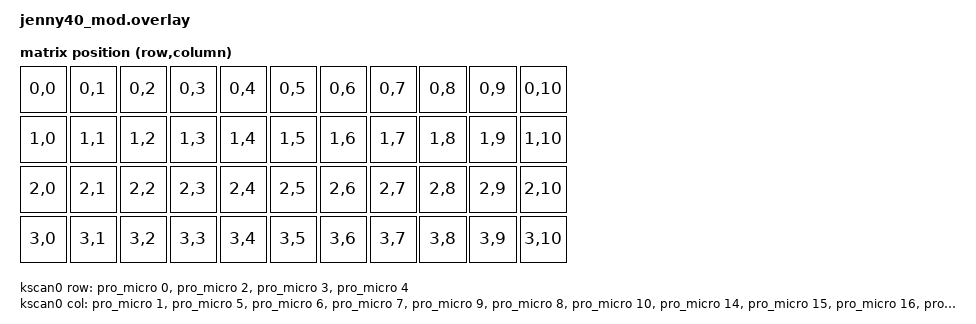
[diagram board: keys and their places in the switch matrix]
// Jenny40 Mod - full 4x11 matrix
#include <dt-bindings/zmk/matrix_transform.h>

/ {
    chosen {
        zmk,kscan = &kscan0;
        zmk,matrix_transform = &default_transform;
    };

    kscan0: kscan {
        compatible = "zmk,kscan-gpio-matrix";
        diode-direction = "col2row";
        wakeup-source;

        /*
         * Columns:
         * COL1  -> D1
         * COL2  -> D5
         * COL3  -> D6
         * COL4  -> D7
         * COL5  -> D9
         * COL6  -> D8
         * COL7  -> D10
         * COL8  -> D14
         * COL9  -> D15
         * COL10 -> D16
         * COL11 -> D18
         */
        col-gpios
            = <&pro_micro 1 GPIO_ACTIVE_HIGH>
            , <&pro_micro 5 GPIO_ACTIVE_HIGH>
            , <&pro_micro 6 GPIO_ACTIVE_HIGH>
            , <&pro_micro 7 GPIO_ACTIVE_HIGH>
            , <&pro_micro 9 GPIO_ACTIVE_HIGH>
            , <&pro_micro 8 GPIO_ACTIVE_HIGH>
            , <&pro_micro 10 GPIO_ACTIVE_HIGH>
            , <&pro_micro 14 GPIO_ACTIVE_HIGH>
            , <&pro_micro 15 GPIO_ACTIVE_HIGH>
            , <&pro_micro 16 GPIO_ACTIVE_HIGH>
            , <&pro_micro 18 GPIO_ACTIVE_HIGH>
            ;

        /*
         * Rows:
         * ROW1 -> D0
         * ROW2 -> D2
         * ROW3 -> D3
         * ROW4 -> D4
         */
        row-gpios
            = <&pro_micro 0 (GPIO_ACTIVE_HIGH | GPIO_PULL_DOWN)>
            , <&pro_micro 2 (GPIO_ACTIVE_HIGH | GPIO_PULL_DOWN)>
            , <&pro_micro 3 (GPIO_ACTIVE_HIGH | GPIO_PULL_DOWN)>
            , <&pro_micro 4 (GPIO_ACTIVE_HIGH | GPIO_PULL_DOWN)>
            ;
    };

    default_transform: matrix_transform {
        compatible = "zmk,matrix-transform";
        columns = <11>;
        rows = <4>;

        map = <
            RC(0,0)  RC(0,1)  RC(0,2)  RC(0,3)  RC(0,4)  RC(0,5)  RC(0,6)  RC(0,7)  RC(0,8)  RC(0,9)  RC(0,10)
            RC(1,0)  RC(1,1)  RC(1,2)  RC(1,3)  RC(1,4)  RC(1,5)  RC(1,6)  RC(1,7)  RC(1,8)  RC(1,9)  RC(1,10)
            RC(2,0)  RC(2,1)  RC(2,2)  RC(2,3)  RC(2,4)  RC(2,5)  RC(2,6)  RC(2,7)  RC(2,8)  RC(2,9)  RC(2,10)
            RC(3,0)  RC(3,1)  RC(3,2)  RC(3,3)  RC(3,4)  RC(3,5)  RC(3,6)  RC(3,7)  RC(3,8)  RC(3,9)  RC(3,10)
        >;
    };
};

/* ===== TrackPoint PS/2 test config =====
 * Wiring:
 * TrackPoint SCK / CLOCK -> D19
 * TrackPoint SDA / DATA  -> D20
 *
 * RST is NOT connected to MCU.
 * RST is pulled up to VCC through 100k on your small board,
 * matching the rflog-style reset circuit.
 */

#include <dt-bindings/pinctrl/nrf-pinctrl.h>

#define MOUSE_PS2_DRIVER_UART

/* SCL = CLOCK = your SCK line */
#define MOUSE_PS2_PIN_SCL_PRO_MICRO <&pro_micro 19 GPIO_ACTIVE_HIGH>

/* SDA = DATA line */
#define MOUSE_PS2_PIN_SDA_PRO_MICRO <&pro_micro 20 GPIO_ACTIVE_HIGH>

/* D20 = P0.29 on common Pro Micro nRF52840 / nice!nano-style pinout */
#define MOUSE_PS2_PIN_SDA_PINCTRL <NRF_PSEL(UART_RX, 0, 29)>

/* Default recommended baud for many TrackPoints */
#define MOUSE_PS2_UART_BAUD_RATE <14400>

/* Unexposed UART pins used internally by the driver on nice!nano */
#define MOUSE_PS2_PIN_UNEXPOSED_TX <NRF_PSEL(UART_TX, 0, 27)>
#define MOUSE_PS2_PIN_UNEXPOSED_RX <NRF_PSEL(UART_RX, 0, 28)>

#define MOUSE_PS2_DT_PRESENT

&pinctrl {
    uart0_ps2_default: uart0_ps2_default {
        group1 {
            psels = MOUSE_PS2_PIN_UNEXPOSED_TX,
                    MOUSE_PS2_PIN_SDA_PINCTRL;
        };
    };

    uart0_ps2_sleep: uart0_ps2_sleep {
        group1 {
            psels = MOUSE_PS2_PIN_UNEXPOSED_TX,
                    MOUSE_PS2_PIN_SDA_PINCTRL;
            low-power-enable;
        };
    };

    uart0_ps2_off: uart0_ps2_off {
        group1 {
            psels = MOUSE_PS2_PIN_UNEXPOSED_TX,
                    MOUSE_PS2_PIN_UNEXPOSED_RX;
        };
    };
};

&uart0 {
    status = "okay";
    compatible = "nordic,nrf-uarte";
    current-speed = MOUSE_PS2_UART_BAUD_RATE;
    pinctrl-0 = <&uart0_ps2_default>;
    pinctrl-1 = <&uart0_ps2_off>;
    pinctrl-names = "default", "sleep";

    uart_ps2: uart_ps2 {
        status = "okay";
        compatible = "uart-ps2";
        scl-gpios = MOUSE_PS2_PIN_SCL_PRO_MICRO;
        sda-gpios = MOUSE_PS2_PIN_SDA_PRO_MICRO;
    };
};

/ {
    mouse_ps2: mouse_ps2 {
        status = "okay";
        compatible = "zmk,input-mouse-ps2";
        ps2-device = <&uart_ps2>;

        /* TrackPoint speed tuning */
        sampling-rate = <200>;
        tp-sensitivity = <180>;
        tp-val6-upper-speed = <110>;
    };

    mouse_ps2_input_listener: mouse_ps2_input_listener {
        compatible = "zmk,input-listener-ps2";
        status = "okay";
        device = <&mouse_ps2>;

        /* Invert TrackPoint vertical movement */
        tp-y-invert;

    };
};
